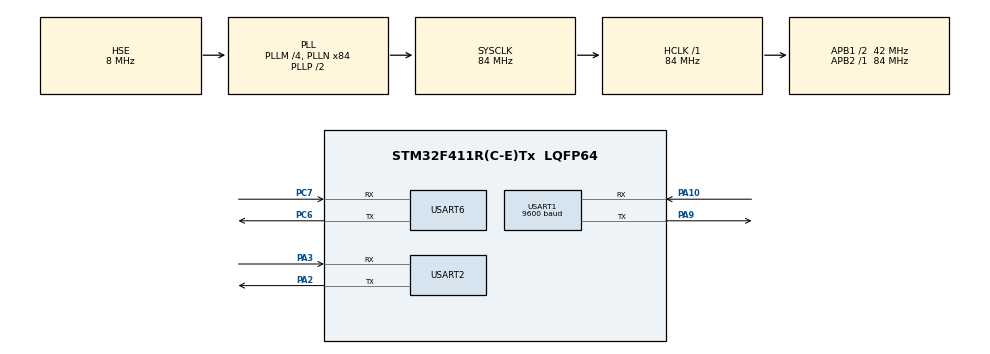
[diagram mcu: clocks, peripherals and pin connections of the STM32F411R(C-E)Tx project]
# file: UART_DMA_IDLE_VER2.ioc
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Mcu.Family=STM32F4
Dma.USART2_RX.2.PeriphDataAlignment=DMA_PDATAALIGN_BYTE
Dma.USART6_TX.5.MemInc=DMA_MINC_ENABLE
RCC.CortexFreq_Value=84000000
Dma.USART6_TX.5.Priority=DMA_PRIORITY_LOW
Dma.USART1_TX.1.MemInc=DMA_MINC_ENABLE
Dma.USART2_TX.3.MemInc=DMA_MINC_ENABLE
USART1.BaudRate=9600
VP_RTC_VS_RTC_Activate.Mode=RTC_Enabled
Dma.USART2_TX.3.Direction=DMA_MEMORY_TO_PERIPH
Dma.USART6_TX.5.FIFOMode=DMA_FIFOMODE_DISABLE
RCC.SYSCLKSource=RCC_SYSCLKSOURCE_PLLCLK
ProjectManager.StackSize=0x400
PH0\ -\ OSC_IN.Signal=RCC_OSC_IN
RCC.HCLKFreq_Value=84000000
RCC.APB2TimFreq_Value=84000000
PC7.Signal=USART6_RX
Dma.USART2_RX.2.Priority=DMA_PRIORITY_LOW
Dma.USART2_RX.2.MemDataAlignment=DMA_MDATAALIGN_BYTE
RCC.AHBFreq_Value=84000000
Dma.USART1_RX.0.Priority=DMA_PRIORITY_LOW
Dma.USART6_TX.5.PeriphDataAlignment=DMA_PDATAALIGN_BYTE
RCC.HSE_VALUE=8000000
Dma.USART6_TX.5.MemDataAlignment=DMA_MDATAALIGN_BYTE
Dma.USART6_RX.4.Mode=DMA_NORMAL
Dma.USART6_RX.4.Instance=DMA2_Stream1
PC14-OSC32_IN.Mode=LSE-External-Clock-Source
Dma.USART6_TX.5.Instance=DMA2_Stream6
Dma.USART1_RX.0.MemInc=DMA_MINC_ENABLE
Dma.USART1_TX.1.PeriphDataAlignment=DMA_PDATAALIGN_BYTE
Mcu.Package=LQFP64
Dma.USART6_RX.4.PeriphInc=DMA_PINC_DISABLE
NVIC.DMA2_Stream7_IRQn=true\:0\:0\:false\:false\:true\:false\:true
USART2.VirtualMode=VM_ASYNC
USART6.VirtualMode=VM_ASYNC
PA10.Signal=USART1_RX
VP_RTC_VS_RTC_Calendar.Mode=RTC_Calendar
Dma.USART2_RX.2.Direction=DMA_PERIPH_TO_MEMORY
Dma.USART1_RX.0.FIFOMode=DMA_FIFOMODE_DISABLE
Dma.USART6_RX.4.MemInc=DMA_MINC_ENABLE
NVIC.DMA2_Stream2_IRQn=true\:0\:0\:false\:false\:true\:false\:true
Dma.Request2=USART2_RX
Dma.Request1=USART1_TX
RCC.APB1TimFreq_Value=84000000
Dma.Request4=USART6_RX
Dma.Request3=USART2_TX
Dma.USART1_RX.0.Mode=DMA_NORMAL
Dma.USART1_TX.1.Priority=DMA_PRIORITY_LOW
Dma.Request5=USART6_TX
NVIC.USART1_IRQn=true\:0\:0\:false\:false\:true\:true\:true
NVIC.DMA1_Stream6_IRQn=true\:0\:0\:false\:false\:true\:false\:true
Dma.Request0=USART1_RX
Dma.USART1_RX.0.Instance=DMA2_Stream2
PA3.Signal=USART2_RX
Dma.USART1_TX.1.Direction=DMA_MEMORY_TO_PERIPH
Dma.USART6_RX.4.MemDataAlignment=DMA_MDATAALIGN_BYTE
RCC.PLLSourceVirtual=RCC_PLLSOURCE_HSE
PC15-OSC32_OUT.Mode=LSE-External-Clock-Source
Dma.USART2_TX.3.MemDataAlignment=DMA_MDATAALIGN_BYTE
Dma.USART1_TX.1.Instance=DMA2_Stream7
Dma.USART1_RX.0.PeriphDataAlignment=DMA_PDATAALIGN_BYTE
PA10.Mode=Asynchronous
Dma.USART2_TX.3.Instance=DMA1_Stream6
Dma.USART6_TX.5.Direction=DMA_MEMORY_TO_PERIPH
Dma.USART6_RX.4.Priority=DMA_PRIORITY_LOW
PH1\ -\ OSC_OUT.Mode=HSE-External-Clock-Source
PC6.Signal=USART6_TX
Dma.USART6_RX.4.PeriphDataAlignment=DMA_PDATAALIGN_BYTE
Dma.USART6_RX.4.FIFOMode=DMA_FIFOMODE_DISABLE
Dma.USART2_TX.3.PeriphInc=DMA_PINC_DISABLE
NVIC.DMA2_Stream1_IRQn=true\:0\:0\:false\:false\:true\:false\:true
RCC.APB1CLKDivider=RCC_HCLK_DIV2
PC14-OSC32_IN.Signal=RCC_OSC32_IN
NVIC.USART2_IRQn=true\:0\:0\:false\:false\:true\:true\:true
Dma.USART2_RX.2.Mode=DMA_NORMAL
NVIC.USART6_IRQn=true\:0\:0\:false\:false\:true\:true\:true
PA3.Mode=Asynchronous
PA9.Mode=Asynchronous
PH0\ -\ OSC_IN.Mode=HSE-External-Clock-Source
Dma.USART2_RX.2.MemInc=DMA_MINC_ENABLE
ProjectManager.TargetToolchain=STM32CubeIDE
NVIC.DMA1_Stream5_IRQn=true\:0\:0\:false\:false\:true\:false\:true
PC6.Mode=Asynchronous
Dma.USART1_RX.0.Direction=DMA_PERIPH_TO_MEMORY
Dma.USART6_TX.5.Mode=DMA_NORMAL
PA9.Signal=USART1_TX
Dma.USART2_TX.3.PeriphDataAlignment=DMA_PDATAALIGN_BYTE
Dma.USART1_TX.1.FIFOMode=DMA_FIFOMODE_DISABLE
NVIC.DMA2_Stream6_IRQn=true\:0\:0\:false\:false\:true\:false\:true
RCC.LSE_VALUE=32768
PC15-OSC32_OUT.Signal=RCC_OSC32_OUT
Dma.USART1_RX.0.PeriphInc=DMA_PINC_DISABLE
Dma.USART2_TX.3.FIFOMode=DMA_FIFOMODE_DISABLE
PH1\ -\ OSC_OUT.Signal=RCC_OSC_OUT
Dma.USART1_TX.1.MemDataAlignment=DMA_MDATAALIGN_BYTE
board=custom
RCC.VCOOutputFreq_Value=168000000
Dma.USART2_RX.2.PeriphInc=DMA_PINC_DISABLE
RCC.APB2Freq_Value=84000000
Dma.USART2_TX.3.Mode=DMA_NORMAL
Dma.USART1_RX.0.MemDataAlignment=DMA_MDATAALIGN_BYTE
Mcu.Name=STM32F411R(C-E)Tx
PA2.Signal=USART2_TX
RCC.48MHZClocksFreq_Value=42000000
RCC.SYSCLKFreq_VALUE=84000000
Dma.USART6_RX.4.Direction=DMA_PERIPH_TO_MEMORY
Dma.USART6_TX.5.PeriphInc=DMA_PINC_DISABLE
Dma.USART2_RX.2.Instance=DMA1_Stream5
Dma.USART1_TX.1.Mode=DMA_NORMAL
USART1.VirtualMode=VM_ASYNC
ProjectManager.HeapSize=0x200
Dma.USART1_TX.1.PeriphInc=DMA_PINC_DISABLE
RCC.HSI_VALUE=16000000
Dma.USART2_TX.3.Priority=DMA_PRIORITY_LOW
NVIC.PriorityGroup=NVIC_PRIORITYGROUP_4
RCC.PLLM=4
RCC.PLLN=84
PA2.Mode=Asynchronous
Dma.USART2_RX.2.FIFOMode=DMA_FIFOMODE_DISABLE
PC7.Mode=Asynchronous
RCC.APB1Freq_Value=42000000

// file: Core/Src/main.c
/* USER CODE BEGIN Header */
/**
  ******************************************************************************
  * @file           : main.c
  * @brief          : Main program body
  ******************************************************************************
  * @attention
  *
  * <h2><center>&copy; Copyright (c) 2021 STMicroelectronics.
  * All rights reserved.</center></h2>
  *
  * This software component is licensed by ST under BSD 3-Clause license,
  * the "License"; You may not use this file except in compliance with the
  * License. You may obtain a copy of the License at:
  *                        opensource.org/licenses/BSD-3-Clause
  *
  ******************************************************************************
  */
/* USER CODE END Header */
#include "main.h"
#include "dma.h"
#include "rtc.h"
#include "usart.h"
#include "gpio.h"

/* USER CODE BEGIN Includes */
#include "uart_dma.h"
#include <stdio.h>
#include <stdlib.h>

/* USER CODE END Includes */

/* USER CODE BEGIN PV */
UART_BufferTypeDef uart_pc;
UART_BufferTypeDef uart_satel;
UART_BufferTypeDef uart_sim;
uint16_t message_n = 0;
/* USER CODE END PV */

void SystemClock_Config(void);

int main(void)
{

  /* MCU Configuration--------------------------------------------------------*/

  /* Reset of all peripherals, Initializes the Flash interface and the Systick. */
  HAL_Init();

  /* Configure the system clock */
  SystemClock_Config();

  /* Initialize all configured peripherals */
  MX_GPIO_Init();
  MX_DMA_Init();
  MX_RTC_Init();
  MX_USART1_UART_Init();
  MX_USART2_UART_Init();
  MX_USART6_UART_Init();
  /* USER CODE BEGIN 2 */
  Serial_init(&uart_satel, &huart1);
  Serial_init(&uart_pc, &huart2);
  Serial_init(&uart_sim, &huart6);
  //HAL_UART_Transmit_DMA(&huart2, "test\n\r", 6);
  Serial_print(&uart_pc, "System start - uart2\n\r");
  /* USER CODE END 2 */

  /* Infinite loop */
  /* USER CODE BEGIN WHILE */
  while (1)
  {
	  uint16_t avail = Serial_available(&uart_pc);
	  	  if(avail) {
	  		  Serial_print(&uart_pc, "new message no.");
	  		  message_n++;
	  		  Serial_print_int(&uart_pc, message_n);
	  		  Serial_print(&uart_pc, ":");
	  		  char command[128];
	  		  Serial_read_line(&uart_pc, command);
	  		  Serial_print(&uart_pc, command);
	  		  Serial_println(&uart_pc);
	  	  }
    /* USER CODE END WHILE */

  }
}

void SystemClock_Config(void)
{
  RCC_OscInitTypeDef RCC_OscInitStruct = {0};
  RCC_ClkInitTypeDef RCC_ClkInitStruct = {0};
  RCC_PeriphCLKInitTypeDef PeriphClkInitStruct = {0};

  /** Configure the main internal regulator output voltage
  */
  __HAL_RCC_PWR_CLK_ENABLE();
  __HAL_PWR_VOLTAGESCALING_CONFIG(PWR_REGULATOR_VOLTAGE_SCALE1);
  /** Initializes the RCC Oscillators according to the specified parameters
  * in the RCC_OscInitTypeDef structure.
  */
  RCC_OscInitStruct.OscillatorType = RCC_OSCILLATORTYPE_LSI|RCC_OSCILLATORTYPE_HSE;
  RCC_OscInitStruct.HSEState = RCC_HSE_BYPASS;
  RCC_OscInitStruct.LSIState = RCC_LSI_ON;
  RCC_OscInitStruct.PLL.PLLState = RCC_PLL_ON;
  RCC_OscInitStruct.PLL.PLLSource = RCC_PLLSOURCE_HSE;
  RCC_OscInitStruct.PLL.PLLM = 4;
  RCC_OscInitStruct.PLL.PLLN = 84;
  RCC_OscInitStruct.PLL.PLLP = RCC_PLLP_DIV2;
  RCC_OscInitStruct.PLL.PLLQ = 4;
  if (HAL_RCC_OscConfig(&RCC_OscInitStruct) != HAL_OK)
  {
    Error_Handler();
  }
  /** Initializes the CPU, AHB and APB buses clocks
  */
  RCC_ClkInitStruct.ClockType = RCC_CLOCKTYPE_HCLK|RCC_CLOCKTYPE_SYSCLK
                              |RCC_CLOCKTYPE_PCLK1|RCC_CLOCKTYPE_PCLK2;
  RCC_ClkInitStruct.SYSCLKSource = RCC_SYSCLKSOURCE_PLLCLK;
  RCC_ClkInitStruct.AHBCLKDivider = RCC_SYSCLK_DIV1;
  RCC_ClkInitStruct.APB1CLKDivider = RCC_HCLK_DIV2;
  RCC_ClkInitStruct.APB2CLKDivider = RCC_HCLK_DIV1;

  if (HAL_RCC_ClockConfig(&RCC_ClkInitStruct, FLASH_LATENCY_2) != HAL_OK)
  {
    Error_Handler();
  }
  PeriphClkInitStruct.PeriphClockSelection = RCC_PERIPHCLK_RTC;
  PeriphClkInitStruct.RTCClockSelection = RCC_RTCCLKSOURCE_LSI;
  if (HAL_RCCEx_PeriphCLKConfig(&PeriphClkInitStruct) != HAL_OK)
  {
    Error_Handler();
  }
}

void Error_Handler(void)
{
}

/************************ (C) COPYRIGHT STMicroelectronics *****END OF FILE****/
